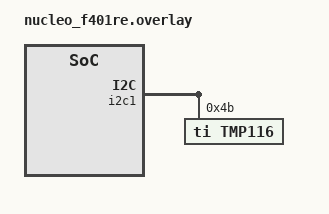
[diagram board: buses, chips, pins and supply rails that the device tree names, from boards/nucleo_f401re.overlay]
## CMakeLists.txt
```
# SPDX-License-Identifier: Apache-2.0

cmake_minimum_required(VERSION 3.13.1)
find_package(Zephyr REQUIRED HINTS $ENV{ZEPHYR_BASE})
project(tmp116)

FILE(GLOB app_sources src/*.c)
target_sources(app PRIVATE ${app_sources})
```

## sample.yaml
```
sample:
  name: TI TMP116 Sensor Sample
tests:
  sample.sensor.tmp116:
    harness: console
    platform_allow: nucleo_f401re
    integration_platforms:
      - nucleo_f401re
    tags: sensors
    depends_on: i2c
    harness_config:
        type: one_line
        regex:
            - "temp is (.*) oC"
        fixture: fixture_i2c_tmp116
```

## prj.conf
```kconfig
CONFIG_STDOUT_CONSOLE=y
CONFIG_I2C=y
CONFIG_SENSOR=y
CONFIG_TMP116=y
```

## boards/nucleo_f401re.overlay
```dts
/*
 * Copyright (c) 2019 Centaur Analytics, Inc
 *
 * SPDX-License-Identifier: Apache-2.0
 */

&i2c1 {

	ti_tmp116: ti_tmp116@4b {
		compatible = "ti,tmp116";
		reg = <0x4B>;
		label = "TMP116";
	};

};
```

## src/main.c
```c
/*
 * Copyright (c) 2019 Centaur Analytics, Inc
 *
 * SPDX-License-Identifier: Apache-2.0
 */

#include <zephyr.h>
#include <device.h>
#include <drivers/sensor.h>
#include <sys/printk.h>
#include <sys/__assert.h>

void main(void)
{
	const struct device *dev;
	struct sensor_value temp_value;

	/* offset to be added to the temperature
	 * only supported by TMP117
	 */
	struct sensor_value offset_value;
	int ret;

	dev = device_get_binding(DT_LABEL(DT_INST(0, ti_tmp116)));
	__ASSERT(dev != NULL, "Failed to get TMP116 device binding");

	printk("Device %s - %p is ready\n", dev->name, dev);

	/*
	 * if an offset of 2.5 oC is to be added,
	 * set val1 = 2 and val2 = 500000.
	 * See struct sensor_value documentation for more details.
	 */
	offset_value.val1 = 0;
	offset_value.val2 = 0;
	ret = sensor_attr_set(dev, SENSOR_CHAN_AMBIENT_TEMP,
			      SENSOR_ATTR_OFFSET, &offset_value);
	if (ret) {
		printk("sensor_attr_set failed ret = %d\n", ret);
		printk("SENSOR_ATTR_OFFSET is only supported by TMP117\n");
	}
	while (1) {
		ret = sensor_sample_fetch(dev);
		if (ret) {
			printk("Failed to fetch measurements (%d)\n", ret);
			return;
		}

		ret = sensor_channel_get(dev, SENSOR_CHAN_AMBIENT_TEMP,
					 &temp_value);
		if (ret) {
			printk("Failed to get measurements (%d)\n", ret);
			return;
		}

		printk("temp is %d.%d oC\n", temp_value.val1, temp_value.val2);

		k_sleep(K_MSEC(1000));
	}
}
```
